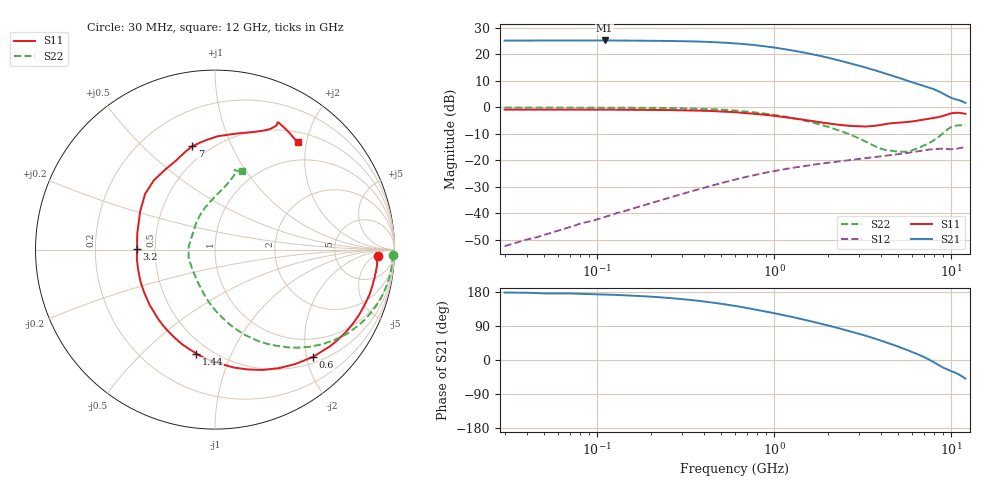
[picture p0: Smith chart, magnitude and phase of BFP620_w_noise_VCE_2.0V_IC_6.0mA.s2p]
! Infineon Technologies  Discrete & RF Semiconductors
! BFP620
! VCE =  2.0 V,  IC =  6.0 mA
! Common Emitter S-Parameters:  Nov 2015
# GHz  S  MA  R  50
!  f  S11  S21  S12  S22
! GHz  MAG  ANG  MAG  ANG  MAG  ANG  MAG  ANG
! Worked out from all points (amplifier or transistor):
!   239 points, 30 MHz to 12 GHz, reference 50 ohm
!   highest |S21| = 25.2 dB at 110 MHz (marker M1)
!   |S21| within 3 dB of that: start of sweep to 1.076 GHz
!   unconditionally stable (mu >= 1): 5.011 GHz to end of sweep
!   at 300 MHz: K = 0.10, MSG = 28.9 dB, |S12| = -32.7 dB
!   at 1.88 GHz: K = 0.56, MSG = 20.2 dB, |S12| = -21.1 dB
!   at 12 GHz: K = 1.19, MAG = 5.8 dB, |S12| = -15.2 dB
!   lowest NFmin = 0.65 dB at 450 MHz
!   S11 on the Smith chart (normalised r, x): 30 MHz: 17, -7; 600 MHz: 0.61, -2.13; 1.44 GHz: 0.42, -0.75; 3.2 GHz: 0.39, +0.01; 7 GHz: 0.41, +0.72; 12 GHz: 0.66, +1.84
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0.03  0.9071 -2.4  18.18 178.0  0.0024 74.2  0.9903 -1.6
0.04  0.9054 -3.2  18.26 177.5  0.0032 79.4  0.9903 -2.2
0.05  0.9036 -3.9  18.25 175.8  0.0039 81.3  0.9907 -2.7
0.07  0.9068 -5.7  18.29 175.6  0.0055 81.3  0.9906 -3.9
0.085  0.9054 -6.8  18.24 174.3  0.0067 81.5  0.9899 -4.8
0.11  0.9018 -9.0  18.29 172.5  0.0085 81.6  0.9881 -6.2
0.17  0.8986 -13.9  18.11 169.1  0.0132 80.6  0.982 -9.7
0.24  0.8906 -19.3  17.92 164.6  0.0185 78.5  0.9721 -13.6
0.32  0.8772 -25.9  17.67 159.5  0.0245 75.5  0.9558 -18.1
0.4  0.8619 -32.2  17.32 154.4  0.0303 72.5  0.9354 -22.4
0.6  0.8099 -47.5  16.15 142.8  0.0434 64.9  0.8711 -32.7
0.7  0.7792 -54.9  15.49 137.3  0.0491 61.2  0.8329 -37.4
0.9  0.7207 -68.5  14.09 127.7  0.0588 55.0  0.7553 -45.8
1.1  0.6652 -81.0  12.81 119.3  0.0667 49.7  0.6831 -53.0
1.44  0.5885 -100.2  10.97 107.5  0.0773 42.7  0.5751 -63.4
1.64  0.5511 -111.1  10.06 101.3  0.0824 39.4  0.5195 -68.9
2.4  0.4626 -148.2  7.471 81.7  0.097 29.7  0.3519 -87.8
3.2  0.4344 179.2  5.78 65.6  0.1091 22.2  0.2354 -108.3
4.5  0.4981 141.4  4.084 42.9  0.1253 11.7  0.1537 -163.3
7  0.5893 102.4  2.54 7.9  0.1545 -6.2  0.1902 121.1
9  0.6925 71.3  1.814 -20.2  0.1652 -25.0  0.3282 84.5
12  0.7544 52.4  1.211 -49.1  0.173 -43.3  0.4645 71.2
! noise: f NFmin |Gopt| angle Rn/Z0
0.45  0.65  0.4  4  0.14
0.9  0.68  0.35  10  0.05
1.9  0.7  0.22  32  0.01
2.4  0.73  0.17  55  0.11
3.5  0.81  0.07  98  0.12
5.5  1.18  0.1  -162  0.13
10  1.8  0.6  -55  0.76
